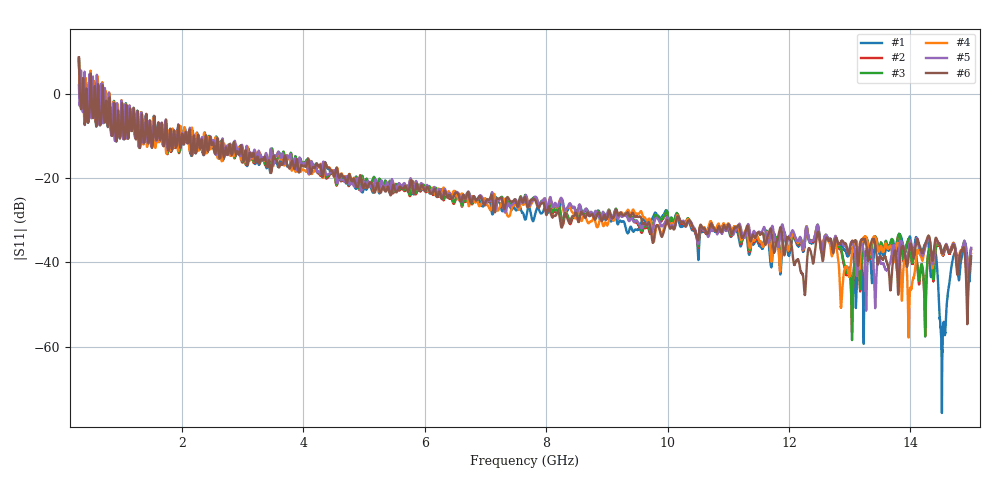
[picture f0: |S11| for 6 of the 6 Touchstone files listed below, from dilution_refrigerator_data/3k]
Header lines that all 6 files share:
# GHZ S RI R 50.0
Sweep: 300 MHz to 15 GHz
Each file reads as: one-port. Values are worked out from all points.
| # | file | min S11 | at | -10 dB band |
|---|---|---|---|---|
| 1 | port1_3k.s1p | -75.8 dB | 14.52 GHz | over 12.61 GHz wide |
| 2 | port3_3k.s1p | -56.6 dB | 13.04 GHz | over 12.62 GHz wide |
| 3 | port3_3k_repeat1.s1p | -58.5 dB | 13.04 GHz | over 12.55 GHz wide |
| 4 | port4_3k_repeat1.s1p | -57.9 dB | 13.97 GHz | over 12.63 GHz wide |
| 5 | port5_3k.s1p | -51.5 dB | 13.27 GHz | over 12.6 GHz wide |
| 6 | port6_3k.s1p | -54.7 dB | 14.94 GHz | over 12.61 GHz wide |
